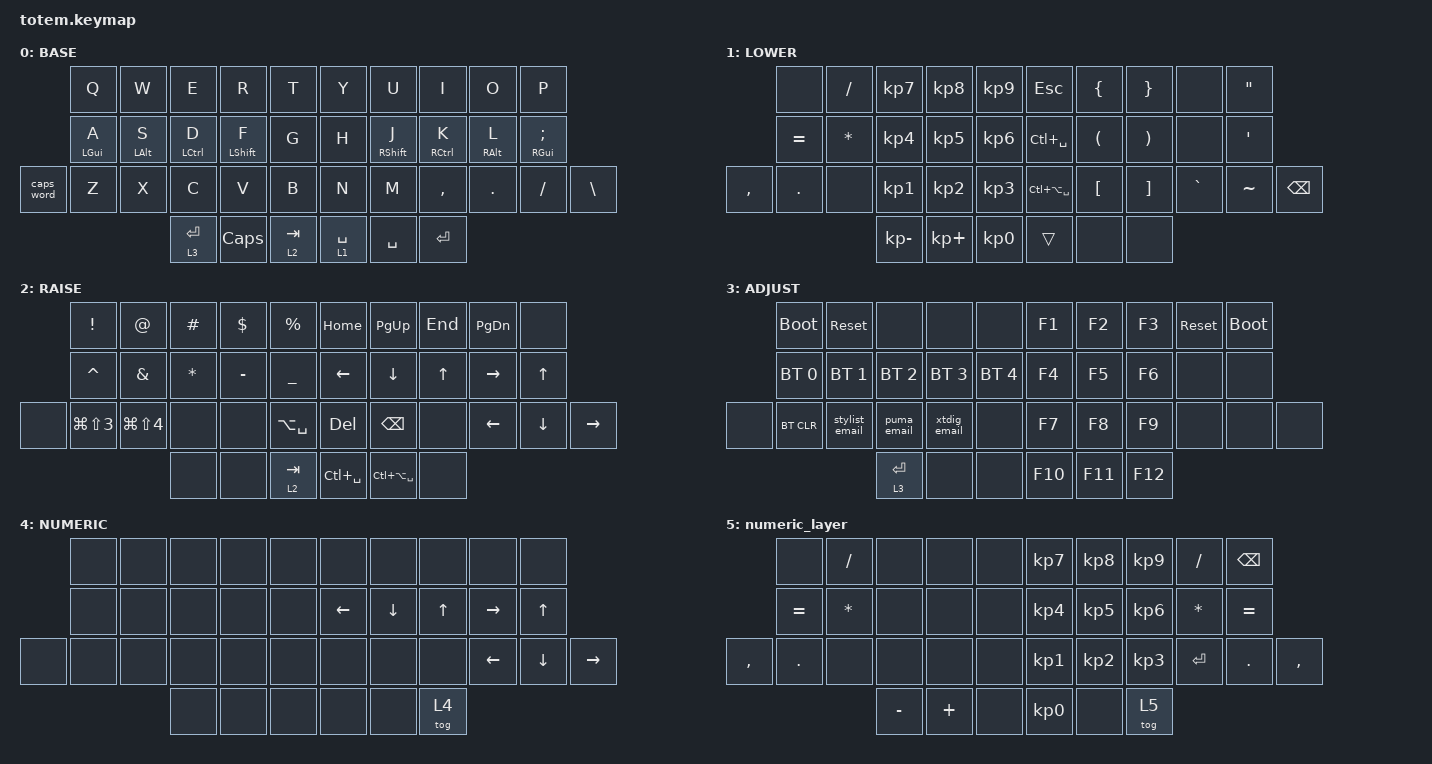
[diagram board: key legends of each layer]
#include <behaviors.dtsi>
#include <dt-bindings/zmk/bt.h>
#include <dt-bindings/zmk/keys.h>

#define BASE   0
#define LOWER  1
#define RAISE  2
#define ADJUST 3
#define NUMERIC 4

&mt {
    label = "HOMEROW_MODS";
    compatible = "zmk,behavior-hold-tap";
    flavor = "tap-preferred";
    quick-tap-ms = <125>;
    tapping-term-ms = <200>;
};

&lt {
    tapping-term-ms = <240>;
    flavor = "balanced";
    quick-tap-ms = <150>;
};

/ {
    conditional_layers { compatible = "zmk,conditional-layers"; };

    combos {
        compatible = "zmk,combos";

        enter_right_combo {
            bindings = <&kp ENTER>;
            key-positions = <16 18 17>;
            timeout-ms = <70>;
            require-prior-idle-ms = <100>;
        };

        navigation_tog {
            bindings = <&tog 4>;
            key-positions = <6 7 8>;
        };

        numeric_tog {
            bindings = <&tog 5>;
            key-positions = <27 28 29>;
        };
    };

    behaviors {
        stylist_email: stylist_email {
            compatible = "zmk,behavior-macro";
            #binding-cells = <0>;
            bindings = <&none &kp S &kp DOT &kp S &kp T &kp Y &kp L &kp I &kp S &kp T &kp AT &kp G &kp M &kp A &kp I &kp L &kp DOT &kp C &kp O &kp M>;
            label = "STYLIST_EMAIL";
        };

        puma_email: puma_email {
            compatible = "zmk,behavior-macro";
            #binding-cells = <0>;
            bindings = <&none &kp P &kp U &kp M &kp A &kp N1 &kp N8 &kp N9 &kp N6 &kp N1 &kp AT &kp G &kp M &kp A &kp I &kp L &kp DOT &kp C &kp O &kp M>;
            label = "PUMA_EMAIL";
        };

        xtdig_email: xtdig_email {
            compatible = "zmk,behavior-macro";
            #binding-cells = <0>;
            bindings = <&none &kp X &kp T &kp D &kp I &kp G &kp N8 &kp N3 &kp S &kp N9 &kp AT &kp G &kp M &kp A &kp I &kp L &kp DOT &kp C &kp O &kp M>;
            label = "XTDIG_EMAIL";
        };

        caps_word: caps_word {
            compatible = "zmk,behavior-caps-word";
            label = "CAPS_WORD";
            #binding-cells = <0>;
            continue-list = <UNDERSCORE MINUS BACKSPACE DELETE>;
            mods = <(MOD_LSFT|MOD_RSFT)>;
        };
    };

    macros {
    };

    keymap {
        compatible = "zmk,keymap";

        // ▄▄▄ base_layer ▄▄▄▄▄▄▄▄▄▄▄▄▄▄▄▄▄▄▄▄▄▄▄▄▄▄▄▄▄▄▄▄▄▄▄▄▄▄▄▄▄▄▄▄▄▄▄▄▄▄▄▄▄▄▄▄▄▄▄▄▄▄▄▄▄▄▄▄▄▄▄▄▄▄▄▄▄▄▄▄▄▄▄▄▄▄▄▄▄▄▄▄▄▄▄▄▄▄▄▄▄▄▄▄▄▄▄▄▄▄▄▄▄▄▄▄▄▄▄▄▄▄▄▄▄▄▄▄▄▄▄▄▄▄

        base_layer {
            label = "BASE";

            //             ┏━━━━━━━━━━━┳━━━━━━━━━━━┳━━━━━━━━━━━┳━━━━━━━━━━━┳━━━━━━━━━━━┓   ┏━━━━━━━━━━━┳━━━━━━━━━━━┳━━━━━━━━━━━┳━━━━━━━━━━━┳━━━━━━━━━━━┓
            //             ┃     Q     ┃     W     ┃     E     ┃     R     ┃     T     ┃   ┃     Y     ┃     U     ┃     I     ┃     O     ┃     P     ┃
            //             ┣━━━━━━━━━━━╋━━━━━━━━━━━╋━━━━━━━━━━━╋━━━━━━━━━━━╋━━━━━━━━━━━┫   ┣━━━━━━━━━━━╋━━━━━━━━━━━╋━━━━━━━━━━━╋━━━━━━━━━━━╋━━━━━━━━━━━┫
            //             ┃     A     ┃     S     ┃     D     ┃     F     ┃     G     ┃   ┃     H     ┃     J     ┃     K     ┃     L     ┃     ;     ┃
            // ┏━━━━━━━━━━━╋━━━━━━━━━━━╋━━━━━━━━━━━╋━━━━━━━━━━━╋━━━━━━━━━━━╋━━━━━━━━━━━┫   ┣━━━━━━━━━━━╋━━━━━━━━━━━╋━━━━━━━━━━━╋━━━━━━━━━━━╋━━━━━━━━━━━╋━━━━━━━━━━━┓
            // ┃    SHFT   ┃     Z     ┃     X     ┃     C     ┃     V     ┃     B     ┃   ┃     N     ┃     M     ┃     ,     ┃     .     ┃     /     ┃     \     ┃
            // ┗━━━━━━━━━━━┻━━━━━━━━━━━┻━━━━━━━━━━━╋━━━━━━━━━━━╋━━━━━━━━━━━╋━━━━━━━━━━━┫   ┣━━━━━━━━━━━╋━━━━━━━━━━━╋━━━━━━━━━━━╋━━━━━━━━━━━┻━━━━━━━━━━━┻━━━━━━━━━━━┛
            //                                     ┃   ENTER   ┃  LC(ESC)  ┃  LT2(TAB) ┃   ┃ LT1(SPACE)┃  LA(SPC)  ┃  LG(ENT)  ┃
            //                                     ┗━━━━━━━━━━━┻━━━━━━━━━━━┻━━━━━━━━━━━┛   ┗━━━━━━━━━━━┻━━━━━━━━━━━┻━━━━━━━━━━━┛

            bindings = <
            &kp Q       &kp W       &kp E        &kp R         &kp T        &kp Y        &kp U        &kp I        &kp O       &kp P
            &mt LGUI A  &mt LALT S  &mt LCTRL D  &mt LSHFT F   &kp G        &kp H        &mt RSHFT J  &mt RCTRL K  &mt RALT L  &mt RGUI SEMI
&caps_word  &kp Z       &kp X       &kp C        &kp V         &kp B        &kp N        &kp M        &kp COMMA    &kp DOT     &kp FSLH       &kp BSLH
                                    &lt 3 ENTER  &kp CAPSLOCK  &lt 2 TAB    &lt 1 SPACE  &kp SPACE    &kp ENTER
            >;
        };

        // ▄▄▄▄▄▄▄▄▄▄▄▄▄▄▄▄▄▄▄▄▄▄▄▄▄▄▄▄▄▄▄▄▄▄▄▄▄▄▄▄▄▄▄▄▄▄▄▄▄▄▄▄▄▄▄▄▄▄▄▄▄▄▄▄▄▄▄▄▄▄▄▄▄▄▄▄▄▄▄▄▄▄▄▄▄▄▄▄▄▄▄▄▄▄▄▄▄▄▄▄▄▄▄▄▄▄▄▄▄▄▄▄▄▄▄▄▄▄▄▄▄▄▄▄▄▄▄▄▄▄▄▄▄▄▄▄▄▄▄▄▄▄▄▄▄▄▄▄▄

        lower_layer {
            label = "LOWER";

            //             ┏━━━━━━━━━━━┳━━━━━━━━━━━┳━━━━━━━━━━━┳━━━━━━━━━━━┳━━━━━━━━━━━┓   ┏━━━━━━━━━━━┳━━━━━━━━━━━┳━━━━━━━━━━━┳━━━━━━━━━━━┳━━━━━━━━━━━┓
            //             ┃           ┃     /     ┃     7     ┃     8     ┃     9     ┃   ┃    ESC    ┃     {     ┃     }     ┃           ┃     "     ┃
            //             ┣━━━━━━━━━━━╋━━━━━━━━━━━╋━━━━━━━━━━━╋━━━━━━━━━━━╋━━━━━━━━━━━┫   ┣━━━━━━━━━━━╋━━━━━━━━━━━╋━━━━━━━━━━━╋━━━━━━━━━━━╋━━━━━━━━━━━┫
            //             ┃     =     ┃     *     ┃     4     ┃     5     ┃     6     ┃   ┃  input_s  ┃     (     ┃     )     ┃           ┃     '     ┃
            // ┏━━━━━━━━━━━╋━━━━━━━━━━━╋━━━━━━━━━━━╋━━━━━━━━━━━╋━━━━━━━━━━━╋━━━━━━━━━━━┫   ┣━━━━━━━━━━━╋━━━━━━━━━━━╋━━━━━━━━━━━╋━━━━━━━━━━━╋━━━━━━━━━━━╋━━━━━━━━━━━┓
            // ┃     ,     ┃     .     ┃           ┃     1     ┃     2     ┃     3     ┃   ┃  input_p  ┃     [     ┃     ]     ┃     `     ┃     ~     ┃           ┃ 
            // ┗━━━━━━━━━━━┻━━━━━━━━━━━┻━━━━━━━━━━━╋━━━━━━━━━━━╋━━━━━━━━━━━╋━━━━━━━━━━━┫   ┣━━━━━━━━━━━╋━━━━━━━━━━━╋━━━━━━━━━━━╋━━━━━━━━━━━┻━━━━━━━━━━━┻━━━━━━━━━━━┛
            //                                     ┃     -     ┃     +     ┃     0     ┃   ┃   LOWER   ┃     <     ┃     >     ┃
            //                                     ┗━━━━━━━━━━━┻━━━━━━━━━━━┻━━━━━━━━━━━┛   ┗━━━━━━━━━━━┻━━━━━━━━━━━┻━━━━━━━━━━━┛

            bindings = <
           &none      &kp SLASH  &kp KP_N7     &kp KP_N8    &kp KP_N9    &kp ESC            &kp LBRC  &kp RBRC  &none      &kp DQT
           &kp EQUAL  &kp ASTRK  &kp KP_N4     &kp KP_N5    &kp KP_N6    &kp LC(SPACE)      &kp LPAR  &kp RPAR  &none      &kp SQT
&kp COMMA  &kp DOT    &none      &kp KP_N1     &kp KP_N2    &kp KP_N3    &kp LC(LA(SPACE))  &kp LBKT  &kp RBKT  &kp GRAVE  &kp TILDE  &kp BACKSPACE
                                 &kp KP_MINUS  &kp KP_PLUS  &kp KP_N0    &trans             &none     &none
            >;
        };

        // ▄▄▄▄▄▄▄▄▄▄▄▄▄▄▄▄▄▄▄▄▄▄▄▄▄▄▄▄▄▄▄▄▄▄▄▄▄▄▄▄▄▄▄▄▄▄▄▄▄▄▄▄▄▄▄▄▄▄▄▄▄▄▄▄▄▄▄▄▄▄▄▄▄▄▄▄▄▄▄▄▄▄▄▄▄▄▄▄▄▄▄▄▄▄▄▄▄▄▄▄▄▄▄▄▄▄▄▄▄▄▄▄▄▄▄▄▄▄▄▄▄▄▄▄▄▄▄▄▄▄▄▄▄▄▄▄▄▄▄▄▄▄▄▄▄▄▄▄▄

        raise_layer {
            label = "RAISE";

            //             ┏━━━━━━━━━━━┳━━━━━━━━━━━┳━━━━━━━━━━━┳━━━━━━━━━━━┳━━━━━━━━━━━┓   ┏━━━━━━━━━━━┳━━━━━━━━━━━┳━━━━━━━━━━━┳━━━━━━━━━━━┳━━━━━━━━━━━┓
            //             ┃     !     ┃     @     ┃     #     ┃     $     ┃     %     ┃   ┃   HOME    ┃   PGUP    ┃    END    ┃    PGDN   ┃           ┃
            //             ┣━━━━━━━━━━━╋━━━━━━━━━━━╋━━━━━━━━━━━╋━━━━━━━━━━━╋━━━━━━━━━━━┫   ┣━━━━━━━━━━━╋━━━━━━━━━━━╋━━━━━━━━━━━╋━━━━━━━━━━━╋━━━━━━━━━━━┫
            //             ┃     ^     ┃     &     ┃     *     ┃     -     ┃     _     ┃   ┃   LEFT    ┃   DOWN    ┃    UP     ┃   RIGHT   ┃    UP     ┃
            // ┏━━━━━━━━━━━╋━━━━━━━━━━━╋━━━━━━━━━━━╋━━━━━━━━━━━╋━━━━━━━━━━━╋━━━━━━━━━━━┫   ┣━━━━━━━━━━━╋━━━━━━━━━━━╋━━━━━━━━━━━╋━━━━━━━━━━━╋━━━━━━━━━━━╋━━━━━━━━━━━┓
            // ┃           ┃           ┃           ┃           ┃           ┃  Raycast  ┃   ┃    DEL    ┃   BSPC    ┃           ┃   LEFT    ┃    DOWN   ┃   RIGHT   ┃
            // ┗━━━━━━━━━━━┻━━━━━━━━━━━┻━━━━━━━━━━━╋━━━━━━━━━━━╋━━━━━━━━━━━╋━━━━━━━━━━━┫   ┣━━━━━━━━━━━╋━━━━━━━━━━━╋━━━━━━━━━━━╋━━━━━━━━━━━┻━━━━━━━━━━━┻━━━━━━━━━━━┛
            //                                     ┃           ┃           ┃   RAISE   ┃   ┃  KOR-EN   ┃           ┃           ┃
            //                                     ┗━━━━━━━━━━━┻━━━━━━━━━━━┻━━━━━━━━━━━┛   ┗━━━━━━━━━━━┻━━━━━━━━━━━┻━━━━━━━━━━━┛

            bindings = <
       &kp EXCL              &kp AT                &kp HASH   &kp DLLR   &kp PRCNT        &kp HOME       &kp PG_UP          &kp END  &kp PG_DN  &none
       &kp CARET             &kp AMPS              &kp ASTRK  &kp MINUS  &kp UNDER        &kp LEFT       &kp DOWN           &kp UP   &kp RIGHT  &kp UP
&none  &kp LG(LS(NUMBER_3))  &kp LG(LS(NUMBER_4))  &none      &none      &kp LA(SPACE)    &kp DEL        &kp BSPC           &none    &kp LEFT   &kp DOWN  &kp RIGHT
                                                   &none      &none      &lt 2 TAB        &kp LC(SPACE)  &kp LC(LA(SPACE))  &none
            >;
        };

        // ▄▄▄▄▄▄▄▄▄▄▄▄▄▄▄▄▄▄▄▄▄▄▄▄▄▄▄▄▄▄▄▄▄▄▄▄▄▄▄▄▄▄▄▄▄▄▄▄▄▄▄▄▄▄▄▄▄▄▄▄▄▄▄▄▄▄▄▄▄▄▄▄▄▄▄▄▄▄▄▄▄▄▄▄▄▄▄▄▄▄▄▄▄▄▄▄▄▄▄▄▄▄▄▄▄▄▄▄▄▄▄▄▄▄▄▄▄▄▄▄▄▄▄▄▄▄▄▄▄▄▄▄▄▄▄▄▄▄▄▄▄▄▄▄▄▄▄▄▄

        adjust_layer {
            label = "ADJUST";

            //             ┏━━━━━━━━━━━┳━━━━━━━━━━━┳━━━━━━━━━━━┳━━━━━━━━━━━┳━━━━━━━━━━━┓   ┏━━━━━━━━━━━┳━━━━━━━━━━━┳━━━━━━━━━━━┳━━━━━━━━━━━┳━━━━━━━━━━━┓
            //             ┃ bootloder ┃   reset   ┃           ┃           ┃           ┃   ┃    F1     ┃    F2     ┃    F3     ┃    F4     ┃    F5     ┃
            //             ┣━━━━━━━━━━━╋━━━━━━━━━━━╋━━━━━━━━━━━╋━━━━━━━━━━━╋━━━━━━━━━━━┫   ┣━━━━━━━━━━━╋━━━━━━━━━━━╋━━━━━━━━━━━╋━━━━━━━━━━━╋━━━━━━━━━━━┫
            //             ┃    BT_0   ┃    BT_1   ┃    BT_2   ┃   BT_3    ┃           ┃   ┃    F6     ┃    F7     ┃    F8     ┃    F9     ┃    F10    ┃
            // ┏━━━━━━━━━━━╋━━━━━━━━━━━╋━━━━━━━━━━━╋━━━━━━━━━━━╋━━━━━━━━━━━╋━━━━━━━━━━━┫   ┣━━━━━━━━━━━╋━━━━━━━━━━━╋━━━━━━━━━━━╋━━━━━━━━━━━╋━━━━━━━━━━━╋━━━━━━━━━━━┓
            // ┃           ┃   BT_CLR  ┃           ┃           ┃           ┃           ┃   ┃    F11    ┃    F12    ┃           ┃           ┃           ┃           ┃
            // ┗━━━━━━━━━━━┻━━━━━━━━━━━┻━━━━━━━━━━━╋━━━━━━━━━━━╋━━━━━━━━━━━╋━━━━━━━━━━━┫   ┣━━━━━━━━━━━╋━━━━━━━━━━━╋━━━━━━━━━━━╋━━━━━━━━━━━┻━━━━━━━━━━━┻━━━━━━━━━━━┛
            //                                     ┃           ┃           ┃           ┃   ┃           ┃           ┃  NUMERIC  ┃
            //                                     ┗━━━━━━━━━━━┻━━━━━━━━━━━┻━━━━━━━━━━━┛   ┗━━━━━━━━━━━┻━━━━━━━━━━━┻━━━━━━━━━━━┛

            bindings = <
       &bootloader   &sys_reset      &none         &none         &none           &kp F1   &kp F2   &kp F3   &sys_reset  &bootloader
       &bt BT_SEL 0  &bt BT_SEL 1    &bt BT_SEL 2  &bt BT_SEL 3  &bt BT_SEL 4    &kp F4   &kp F5   &kp F6   &none       &none
&none  &bt BT_CLR    &stylist_email  &puma_email   &xtdig_email  &none           &kp F7   &kp F8   &kp F9   &none       &none        &none
                                     &lt 3 ENTER   &none         &none           &kp F10  &kp F11  &kp F12
            >;
        };

        navigation_layer {
            label = "NUMERIC";

            //             ┏━━━━━━━━━━━┳━━━━━━━━━━━┳━━━━━━━━━━━┳━━━━━━━━━━━┳━━━━━━━━━━━┓   ┏━━━━━━━━━━━┳━━━━━━━━━━━┳━━━━━━━━━━━┳━━━━━━━━━━━┳━━━━━━━━━━━┓
            //             ┃           ┃     /     ┃     7     ┃     8     ┃     9     ┃   ┃           ┃           ┃           ┃           ┃           ┃
            //             ┣━━━━━━━━━━━╋━━━━━━━━━━━╋━━━━━━━━━━━╋━━━━━━━━━━━╋━━━━━━━━━━━┫   ┣━━━━━━━━━━━╋━━━━━━━━━━━╋━━━━━━━━━━━╋━━━━━━━━━━━╋━━━━━━━━━━━┫
            //             ┃     =     ┃     *     ┃     4     ┃     5     ┃     6     ┃   ┃   left    ┃   down    ┃     up    ┃   right   ┃     up    ┃
            // ┏━━━━━━━━━━━╋━━━━━━━━━━━╋━━━━━━━━━━━╋━━━━━━━━━━━╋━━━━━━━━━━━╋━━━━━━━━━━━┫   ┣━━━━━━━━━━━╋━━━━━━━━━━━╋━━━━━━━━━━━╋━━━━━━━━━━━╋━━━━━━━━━━━╋━━━━━━━━━━━┓
            // ┃     ,     ┃     .     ┃           ┃     1     ┃     2     ┃     3     ┃   ┃           ┃           ┃           ┃   left    ┃    down   ┃   right   ┃ 
            // ┗━━━━━━━━━━━┻━━━━━━━━━━━┻━━━━━━━━━━━╋━━━━━━━━━━━╋━━━━━━━━━━━╋━━━━━━━━━━━┫   ┣━━━━━━━━━━━╋━━━━━━━━━━━╋━━━━━━━━━━━╋━━━━━━━━━━━┻━━━━━━━━━━━┻━━━━━━━━━━━┛
            //                                     ┃     -     ┃     +     ┃     0     ┃   ┃           ┃           ┃  NUMERIC  ┃
            //                                     ┗━━━━━━━━━━━┻━━━━━━━━━━━┻━━━━━━━━━━━┛   ┗━━━━━━━━━━━┻━━━━━━━━━━━┻━━━━━━━━━━━┛

            bindings = <
       &none  &none  &none  &none  &none    &none     &none     &none   &none      &none
       &none  &none  &none  &none  &none    &kp LEFT  &kp DOWN  &kp UP  &kp RIGHT  &kp UP
&none  &none  &none  &none  &none  &none    &none     &none     &none   &kp LEFT   &kp DOWN  &kp RIGHT
                     &none  &none  &none    &none     &none     &tog 4
            >;
        };

        numeric_layer {
            bindings = <
           &none      &kp SLASH  &none      &none     &none    &kp KP_NUMBER_7  &kp KP_NUMBER_8  &kp KP_NUMBER_9  &kp SLASH  &kp BACKSPACE
           &kp EQUAL  &kp STAR   &none      &none     &none    &kp KP_NUMBER_4  &kp KP_NUMBER_5  &kp KP_NUMBER_6  &kp STAR   &kp EQUAL
&kp COMMA  &kp DOT    &none      &none      &none     &none    &kp KP_NUMBER_1  &kp KP_NUMBER_2  &kp KP_NUMBER_3  &kp ENTER  &kp DOT        &kp COMMA
                                 &kp MINUS  &kp PLUS  &none    &kp KP_NUMBER_0  &none            &tog 5
            >;
        };
    };
};

// ▄▄▄▄▄▄▄▄▄▄▄▄▄▄▄▄▄▄▄▄▄▄▄▄▄▄▄▄▄▄▄▄▄▄▄▄▄▄▄▄▄▄▄▄▄▄▄▄▄▄▄▄▄▄▄▄▄▄▄▄▄▄▄▄▄▄▄▄▄▄▄▄▄▄▄▄▄▄▄▄▄▄▄▄▄▄▄▄▄▄▄▄▄▄▄▄▄▄▄▄▄▄▄▄▄▄▄▄▄▄▄▄▄▄▄▄▄▄▄▄▄▄▄▄▄▄▄▄▄▄▄▄▄▄▄▄▄▄▄▄▄▄▄▄▄▄▄▄▄
